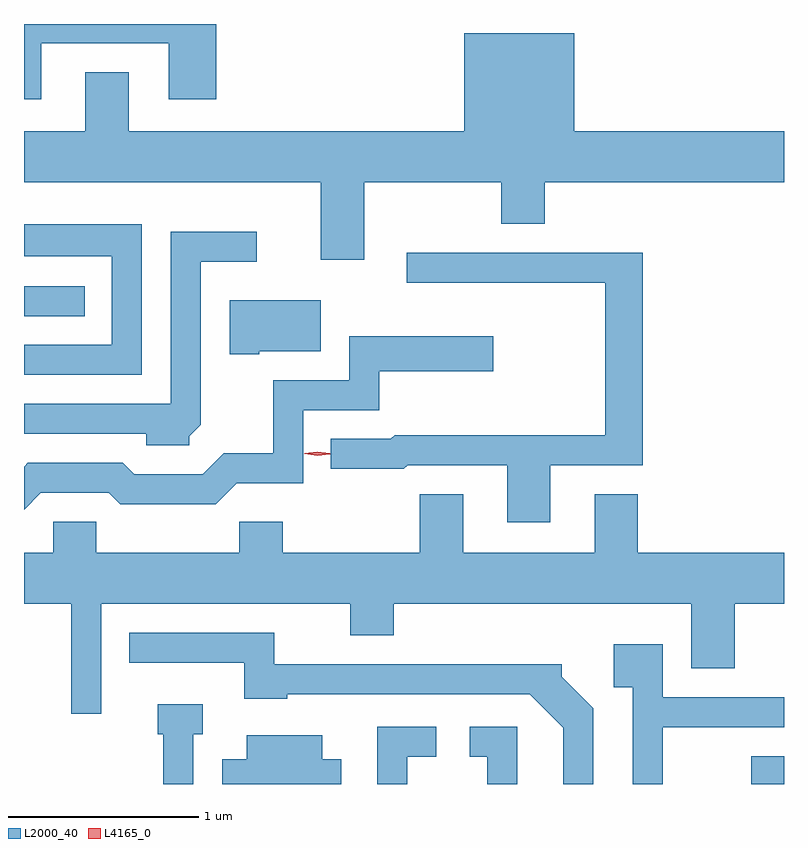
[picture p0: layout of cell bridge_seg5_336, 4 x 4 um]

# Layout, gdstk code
import gdstk
lib = gdstk.Library(unit=1e-6, precision=1e-09)
def R(c, l, rs):  # rectangles x0, y0, x1, y1
    for r in rs: c.add(gdstk.rectangle(r[:2], r[2:], *l))
def P(c, l, *ps):  # polygons
    for p in ps: c.add(gdstk.Polygon(p, *l))
L2000_40 = (2000, 40)
L4165_0 = (4165, 0)

bridge_seg5_336 = lib.new_cell('bridge_seg5_336')
R(bridge_seg5_336, L2000_40, [(808.066,1442.528,808.238,1442.674), (804.238,1444.991,804.558,1445.149)])
P(bridge_seg5_336, L2000_40, [(804.329,1446.426),(805.001,1446.426),(805.001,1446.131),(805.249,1446.131),(805.249,1446.528),(804.238,1446.528),(804.238,1446.131),(804.329,1446.131)],
  [(806.029,1445.696),(806.751,1445.696),(806.751,1445.476),(806.979,1445.476),(806.979,1445.696),(808.238,1445.696),(808.238,1445.964),(807.134,1445.964),(807.134,1446.479),(806.556,1446.479),(806.556,1445.964),(804.789,1445.964),(804.789,1446.274),(804.561,1446.274),(804.561,1445.964),(804.238,1445.964),(804.238,1445.696),(805.801,1445.696),(805.801,1445.286),(806.029,1445.286)],
  [(804.859,1445.474),(804.238,1445.474),(804.238,1445.306),(804.701,1445.306),(804.701,1444.839),(804.238,1444.839),(804.238,1444.681),(804.859,1444.681)],
  [(805.109,1444.359),(805.169,1444.419),(805.169,1445.276),(805.463,1445.276),(805.463,1445.434),(805.011,1445.434),(805.011,1444.529),(804.238,1444.529),(804.238,1444.371),(804.881,1444.371),(804.881,1444.311),(805.109,1444.311)],
  [(807.009,1444.206),(807.494,1444.206),(807.494,1445.324),(806.253,1445.324),(806.253,1445.166),(807.296,1445.166),(807.296,1444.364),(806.189,1444.364),(806.169,1444.344),(805.853,1444.344),(805.853,1444.186),(806.237,1444.186),(806.257,1444.206),(806.781,1444.206),(806.781,1443.906),(807.009,1443.906)],
  [(805.475,1444.806),(805.799,1444.806),(805.799,1445.074),(805.321,1445.074),(805.321,1444.791),(805.475,1444.791)],
  [(804.327,1444.061),(804.684,1444.061),(804.744,1444.001),(805.247,1444.001),(805.357,1444.111),(805.709,1444.111),(805.709,1444.496),(806.109,1444.496),(806.109,1444.701),(806.709,1444.701),(806.709,1444.884),(805.951,1444.884),(805.951,1444.654),(805.551,1444.654),(805.551,1444.269),(805.289,1444.269),(805.179,1444.159),(804.817,1444.159),(804.757,1444.219),(804.259,1444.219),(804.238,1444.198),(804.238,1443.972)],
  [(804.644,1443.476),(805.956,1443.476),(805.956,1443.311),(806.184,1443.311),(806.184,1443.476),(807.751,1443.476),(807.751,1443.136),(807.979,1443.136),(807.979,1443.476),(808.238,1443.476),(808.238,1443.744),(807.469,1443.744),(807.469,1444.054),(807.241,1444.054),(807.241,1443.744),(806.549,1443.744),(806.549,1444.054),(806.321,1444.054),(806.321,1443.744),(805.599,1443.744),(805.599,1443.909),(805.371,1443.909),(805.371,1443.744),(804.619,1443.744),(804.619,1443.909),(804.391,1443.909),(804.391,1443.744),(804.238,1443.744),(804.238,1443.476),(804.486,1443.476),(804.486,1442.898),(804.644,1442.898)],
  [(807.234,1442.927),(807.069,1443.092),(807.069,1443.159),(805.554,1443.159),(805.554,1443.324),(804.793,1443.324),(804.793,1443.166),(805.396,1443.166),(805.396,1442.976),(805.624,1442.976),(805.624,1443.001),(806.899,1443.001),(807.076,1442.824),(807.076,1442.528),(807.234,1442.528)],
  [(807.599,1442.826),(808.238,1442.826),(808.238,1442.984),(807.599,1442.984),(807.599,1443.264),(807.341,1443.264),(807.341,1443.036),(807.441,1443.036),(807.441,1442.528),(807.599,1442.528)],
  [(805.129,1442.791),(805.178,1442.791),(805.178,1442.949),(804.941,1442.949),(804.941,1442.791),(804.971,1442.791),(804.971,1442.528),(805.129,1442.528)],
  [(806.834,1442.829),(806.583,1442.829),(806.583,1442.671),(806.676,1442.671),(806.676,1442.528),(806.834,1442.528)],
  [(806.254,1442.671),(806.408,1442.671),(806.408,1442.829),(806.096,1442.829),(806.096,1442.528),(806.254,1442.528)],
  [(805.909,1442.659),(805.809,1442.659),(805.809,1442.784),(805.411,1442.784),(805.411,1442.659),(805.281,1442.659),(805.281,1442.528),(805.909,1442.528)])
P(bridge_seg5_336, L4165_0, [(805.782,1444.258),(805.716,1444.268),(805.716,1444.268),(805.716,1444.269),(805.782,1444.278),(805.847,1444.268),(805.847,1444.267),(805.847,1444.267)],
  [(805.782,1444.256),(805.714,1444.266),(805.713,1444.267),(805.714,1444.267),(805.782,1444.276),(805.85,1444.265),(805.85,1444.265),(805.85,1444.264)])

lib.write_gds('bridge_seg5_336.gds')
